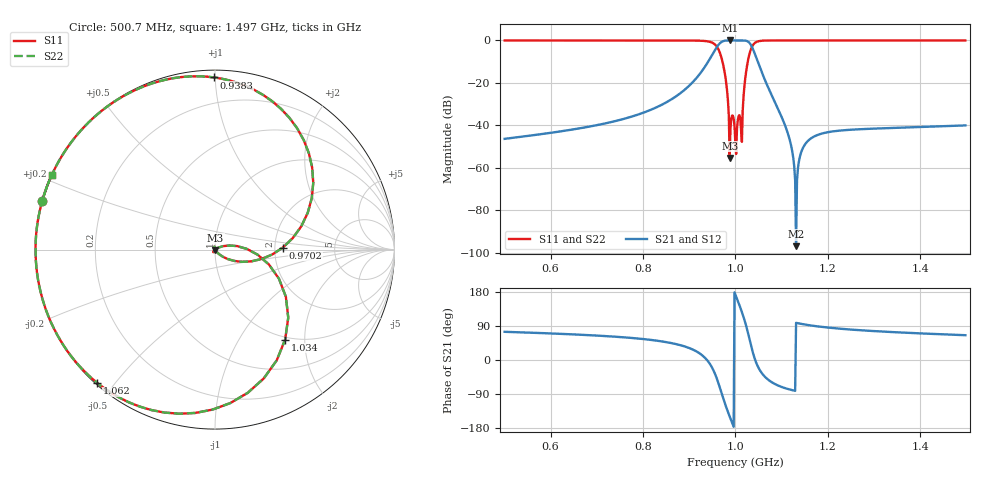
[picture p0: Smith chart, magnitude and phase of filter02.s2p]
# HZ S RI R 50.000000
! FREQ(HZ)  reS11  imS11  reS21  imS21  reS12  imS12  reS22  imS22
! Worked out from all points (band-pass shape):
!   622 points, 500.7 MHz to 1.497 GHz, reference 50 ohm
!   highest |S21| = 0.00 dB at 987.5 MHz (marker M1); lowest = -97.0 dB at 1.131 GHz (marker M2)
!   |S21| within 3 dB of the highest: 960.1 MHz to 1.036 GHz (75.58 MHz wide, 7.57 % of centre)
!   lowest |S11| = -55.4 dB at 987.5 MHz (marker M3), VSWR 1.00, Z = 50.1 - j0.146 ohm
!   |S11| at or under -10 dB: 972.1 MHz to 1.027 GHz (54.63 MHz wide, 5.47 % of centre)
!   |S22| runs from -55.4 to 0.0 dB; largest |S21 - S12| = 0
!   S11 on the Smith chart (normalised r, x): 500.7 MHz: 0.00, +0.14; 938.3 MHz: 0.04, +0.99; 970.2 MHz: 2.21, +0.06; 1.034 GHz: 0.96, -1.61; 1.062 GHz: 0.01, -0.45; 1.497 GHz: 0.00, +0.22
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5.006828e8  -0.9632 0.2689  0.00129 0.00462  0.00129 0.00462  -0.9632 0.2689
6.675003e8  -0.9174 0.3979  0.00344 0.00794  0.00344 0.00794  -0.9174 0.3979
8.336644e8  -0.7701 0.6373  0.0178 0.0215  0.0178 0.0215  -0.7701 0.6373
9.009559e8  -0.5152 0.8526  0.0751 0.0454  0.0751 0.0454  -0.5152 0.8526
9.382658e8  -0.00477 0.9592  0.2828 0.00141  0.2828 0.00141  -0.00477 0.9592
9.583412e8  0.5231 0.5365  0.4741 -0.4623  0.4741 -0.4623  0.5231 0.5365
9.702496e8  0.3779 0.0114  0.028 -0.9253  0.028 -0.9253  0.3779 0.0114
9.788461e8  0.1082 -0.0632  -0.5007 -0.8565  -0.5007 -0.8565  0.1082 -0.0632
9.875188e8  0.000874 -0.00146  -0.8575 -0.5144  -0.8575 -0.5144  0.000874 -0.00146
9.997897e8  0.000499 0.00399  -0.9923 0.1239  -0.9923 0.1239  0.000499 0.00399
1.010429e9  -0.00974 -0.0111  -0.7515 0.6595  -0.7515 0.6595  -0.00974 -0.0111
1.019382e9  0.0786 0.023  -0.2795 0.9567  -0.2795 0.9567  0.0786 0.023
1.024791e9  0.239 -0.0293  0.1179 0.9634  0.1179 0.9634  0.239 -0.0293
1.033871e9  0.3909 -0.5013  0.6088 0.4747  0.6088 0.4747  0.3909 -0.5013
1.044873e9  -0.1103 -0.9101  0.3966 -0.048  0.3966 -0.048  -0.1103 -0.9101
1.061596e9  -0.655 -0.7436  0.1005 -0.0885  0.1005 -0.0885  -0.655 -0.7436
1.111425e9  -0.9694 -0.2454  0.00184 -0.00727  0.00184 -0.00727  -0.9694 -0.2454
1.131206e9  -0.9901 -0.1404  -1.99e-06 1.4e-05  -1.99e-06 1.4e-05  -0.9901 -0.1404
1.145263e9  -0.9967 -0.0816  -0.000229 0.0028  -0.000229 0.0028  -0.9967 -0.0816
1.165647e9  -0.9999 -0.0123  -6.28e-05 0.0051  -6.28e-05 0.0051  -0.9999 -0.0123
1.3329e9  -0.9616 0.2742  0.00236 0.00828  0.00236 0.00828  -0.9616 0.2742
1.497497e9  -0.9095 0.4157  0.00413 0.00904  0.00413 0.00904  -0.9095 0.4157
